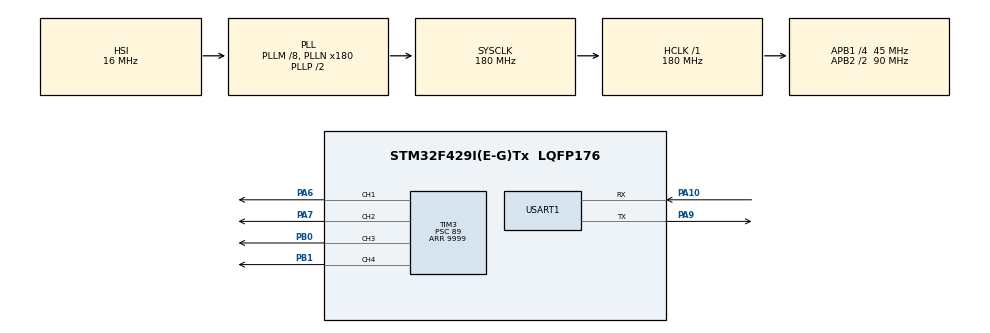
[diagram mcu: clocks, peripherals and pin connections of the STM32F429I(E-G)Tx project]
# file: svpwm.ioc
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Mcu.Family=STM32F4
Mcu.Name=STM32F429I(E-G)Tx
Mcu.Package=LQFP176
NVIC.PriorityGroup=NVIC_PRIORITYGROUP_4
NVIC.TIM6_DAC_IRQn=true\:0\:0\:false\:false\:true\:true\:true\:true
PA10.Mode=Asynchronous
PA10.Signal=USART1_RX
PA6.Signal=S_TIM3_CH1
PA7.Signal=S_TIM3_CH2
PA9.Mode=Asynchronous
PA9.Signal=USART1_TX
PB0.Signal=S_TIM3_CH3
PB1.Signal=S_TIM3_CH4
PC14/OSC32_IN.Mode=LSE-External-Oscillator
PC14/OSC32_IN.Signal=RCC_OSC32_IN
PC15/OSC32_OUT.Mode=LSE-External-Oscillator
PC15/OSC32_OUT.Signal=RCC_OSC32_OUT
PH0/OSC_IN.Mode=HSE-External-Oscillator
PH0/OSC_IN.Signal=RCC_OSC_IN
PH1/OSC_OUT.Mode=HSE-External-Oscillator
PH1/OSC_OUT.Signal=RCC_OSC_OUT
ProjectManager.HeapSize=0x200
ProjectManager.StackSize=0x400
ProjectManager.TargetToolchain=MDK-ARM V5
RCC.48MHZClocksFreq_Value=90000000
RCC.AHBFreq_Value=180000000
RCC.APB1CLKDivider=RCC_HCLK_DIV4
RCC.APB1Freq_Value=45000000
RCC.APB1TimFreq_Value=90000000
RCC.APB2CLKDivider=RCC_HCLK_DIV2
RCC.APB2Freq_Value=90000000
RCC.APB2TimFreq_Value=180000000
RCC.CortexFreq_Value=180000000
RCC.HCLKFreq_Value=180000000
RCC.HSE_VALUE=25000000
RCC.HSI_VALUE=16000000
RCC.PLLM=8
RCC.PLLN=180
RCC.SYSCLKFreq_VALUE=180000000
RCC.SYSCLKSource=RCC_SYSCLKSOURCE_PLLCLK
RCC.VCOOutputFreq_Value=360000000
SH.S_TIM3_CH1.0=TIM3_CH1,PWM Generation1 CH1
SH.S_TIM3_CH2.0=TIM3_CH2,PWM Generation2 CH2
SH.S_TIM3_CH3.0=TIM3_CH3,PWM Generation3 CH3
SH.S_TIM3_CH4.0=TIM3_CH4,PWM Generation4 CH4
TIM3.Channel-PWM\ Generation1\ CH1=TIM_CHANNEL_1
TIM3.Channel-PWM\ Generation2\ CH2=TIM_CHANNEL_2
TIM3.Channel-PWM\ Generation3\ CH3=TIM_CHANNEL_3
TIM3.Channel-PWM\ Generation4\ CH4=TIM_CHANNEL_4
TIM3.CounterMode=TIM_COUNTERMODE_CENTERALIGNED1
TIM3.OCMode_PWM-PWM\ Generation1\ CH1=TIM_OCMODE_PWM1
TIM3.Period=9999
TIM3.Prescaler=89
TIM6.Period=999
TIM6.Prescaler=899
USART1.VirtualMode=VM_ASYNC
VP_TIM6_VS_ClockSourceINT.Mode=Enable_Timer
board=custom

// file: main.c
/* USER CODE BEGIN Header */
/**
  ******************************************************************************
  * @file           : main.c
  * @brief          : Main program body
  ******************************************************************************
  * @attention
  *
  * Copyright (c) 2022 STMicroelectronics.
  * All rights reserved.
  *
  * This software is licensed under terms that can be found in the LICENSE file
  * in the root directory of this software component.
  * If no LICENSE file comes with this software, it is provided AS-IS.
  *
  ******************************************************************************
  */
/* USER CODE END Header */
#include "main.h"
#include "tim.h"
#include "usart.h"
#include "gpio.h"

/* USER CODE BEGIN Includes */
#include "math.h"
#include <stdio.h>
/* USER CODE END Includes */

/* USER CODE BEGIN PD */
#define pi 3.14159
/* USER CODE END PD */

/* USER CODE BEGIN PV */
double ti;
uint8_t flag;
/* USER CODE END PV */

void SystemClock_Config(void);

int main(void)
{

  /* MCU Configuration--------------------------------------------------------*/

  /* Reset of all peripherals, Initializes the Flash interface and the Systick. */
  HAL_Init();

  /* Configure the system clock */
  SystemClock_Config();

  /* Initialize all configured peripherals */
  MX_GPIO_Init();
  MX_TIM3_Init();
  MX_TIM6_Init();
  MX_USART1_UART_Init();
  /* USER CODE BEGIN 2 */
	HAL_TIM_Base_Start_IT(&htim6);
	HAL_TIM_PWM_Start(&htim3, TIM_CHANNEL_1|TIM_CHANNEL_2|TIM_CHANNEL_3|TIM_CHANNEL_4);
  /* USER CODE END 2 */

  /* Infinite loop */
  /* USER CODE BEGIN WHILE */
	float TX, TY, cha, chb, chc;
  while (1)
  {
		switch(flag)
		{
			case 1:
				TX = sin(pi/3 - ti*pi/180);
				TY = sin(ti*pi/180);
				cha = 1 - (1 - TX - TY)/2;
				chb = 1 - (1 + TX - TY)/2;
				chc = 1 - (1 + TX + TY)/2;
				break;
			case 2:
				TX = sin(ti*pi/180 - pi/3);
				TY = sin(pi*2/3 - ti*pi/180);
				cha = 1 - (1 - TX - TY)/2;
				chb = 1 - (1 + TX - TY)/2;
				chc = 1 - (1 + TX + TY)/2;
				break;
			case 3:
				TX = sin(ti*pi/180);
				TY = sin(ti*pi/180 - pi*2/3);
				cha = 1 - (1 + TX - TY)/2;
				chb = 1 - (1 - TX - TY)/2;
				chc = 1 - (1 + TX + TY)/2;
				break;
			case 4:
				TX = -sin(ti*pi/180);
				TY = sin(pi*4/3 - ti*pi/180);
				cha = 1 - (1 + TX + TY)/2;
				chb = 1 - (1 + TX - TY)/2;
				chc = 1 - (1 - TX - TY)/2;
				break;
			case 5:
				TX = sin(pi*5/3 - ti*pi/180);
				TY = sin(ti*pi/180 - pi*4/3);
				cha = 1 - (1 + TX - TY)/2;
				chb = 1 - (1 + TX + TY)/2;
				chc = 1 - (1 - TX - TY)/2;
				break;
			case 6:
				TX = sin(ti*pi/180 - pi*5/3);
				TY = -sin(ti*pi/180);
				cha = 1 - (1 - TX - TY)/2;
				chb = 1 - (1 + TX + TY)/2;
				chc = 1 - (1 + TX - TY)/2;
				break;
			default:
				TX = 0;
				TY = 0;
				cha = 0;
				chb = 0;
				chc = 0;
		}
		__HAL_TIM_SET_COMPARE(&htim3, TIM_CHANNEL_1, cha*10000);
		__HAL_TIM_SET_COMPARE(&htim3, TIM_CHANNEL_2, chb*10000);
		__HAL_TIM_SET_COMPARE(&htim3, TIM_CHANNEL_3, chc*10000);
		__HAL_TIM_SET_COMPARE(&htim3, TIM_CHANNEL_4, chc*10000);
		printf("a:%f b:%f c:%f\r\n", cha*10000, chb*10000, chc*10000);
    /* USER CODE END WHILE */

  }
}

void SystemClock_Config(void)
{
  RCC_OscInitTypeDef RCC_OscInitStruct = {0};
  RCC_ClkInitTypeDef RCC_ClkInitStruct = {0};

  /** Configure the main internal regulator output voltage
  */
  __HAL_RCC_PWR_CLK_ENABLE();
  __HAL_PWR_VOLTAGESCALING_CONFIG(PWR_REGULATOR_VOLTAGE_SCALE1);

  /** Initializes the RCC Oscillators according to the specified parameters
  * in the RCC_OscInitTypeDef structure.
  */
  RCC_OscInitStruct.OscillatorType = RCC_OSCILLATORTYPE_HSI;
  RCC_OscInitStruct.HSIState = RCC_HSI_ON;
  RCC_OscInitStruct.HSICalibrationValue = RCC_HSICALIBRATION_DEFAULT;
  RCC_OscInitStruct.PLL.PLLState = RCC_PLL_ON;
  RCC_OscInitStruct.PLL.PLLSource = RCC_PLLSOURCE_HSI;
  RCC_OscInitStruct.PLL.PLLM = 8;
  RCC_OscInitStruct.PLL.PLLN = 180;
  RCC_OscInitStruct.PLL.PLLP = RCC_PLLP_DIV2;
  RCC_OscInitStruct.PLL.PLLQ = 4;
  if (HAL_RCC_OscConfig(&RCC_OscInitStruct) != HAL_OK)
  {
    Error_Handler();
  }

  /** Activate the Over-Drive mode
  */
  if (HAL_PWREx_EnableOverDrive() != HAL_OK)
  {
    Error_Handler();
  }

  /** Initializes the CPU, AHB and APB buses clocks
  */
  RCC_ClkInitStruct.ClockType = RCC_CLOCKTYPE_HCLK|RCC_CLOCKTYPE_SYSCLK
                              |RCC_CLOCKTYPE_PCLK1|RCC_CLOCKTYPE_PCLK2;
  RCC_ClkInitStruct.SYSCLKSource = RCC_SYSCLKSOURCE_PLLCLK;
  RCC_ClkInitStruct.AHBCLKDivider = RCC_SYSCLK_DIV1;
  RCC_ClkInitStruct.APB1CLKDivider = RCC_HCLK_DIV4;
  RCC_ClkInitStruct.APB2CLKDivider = RCC_HCLK_DIV2;

  if (HAL_RCC_ClockConfig(&RCC_ClkInitStruct, FLASH_LATENCY_5) != HAL_OK)
  {
    Error_Handler();
  }
}

/* USER CODE BEGIN 4 */
void HAL_TIM_PeriodElapsedCallback(TIM_HandleTypeDef *htim)
{
  /* Prevent unused argument(s) compilation warning */
  if(htim->Instance == TIM6)
	{
		ti++;
		if(ti > 360)
		{
			ti = 0;
		}
		if(ti >= 0 && ti<60)
		{
			flag = 1;
		}
		else if(ti >= 60 && ti<120)
		{
			flag = 2;
		}
		else if(ti >= 120 && ti<180)
		{
			flag = 3;
		}
		else if(ti >= 180 && ti<240)
		{
			flag = 4;
		}
		else if(ti >= 240 && ti<300)
		{
			flag = 5;
		}
		else
		{
			flag = 6;
		}
	}
  /* NOTE : This function should not be modified, when the callback is needed,
            the HAL_TIM_PeriodElapsedCallback could be implemented in the user file
   */
}
/* USER CODE END 4 */

void Error_Handler(void)
{
  __disable_irq();
  while (1)
  {
  }
}
